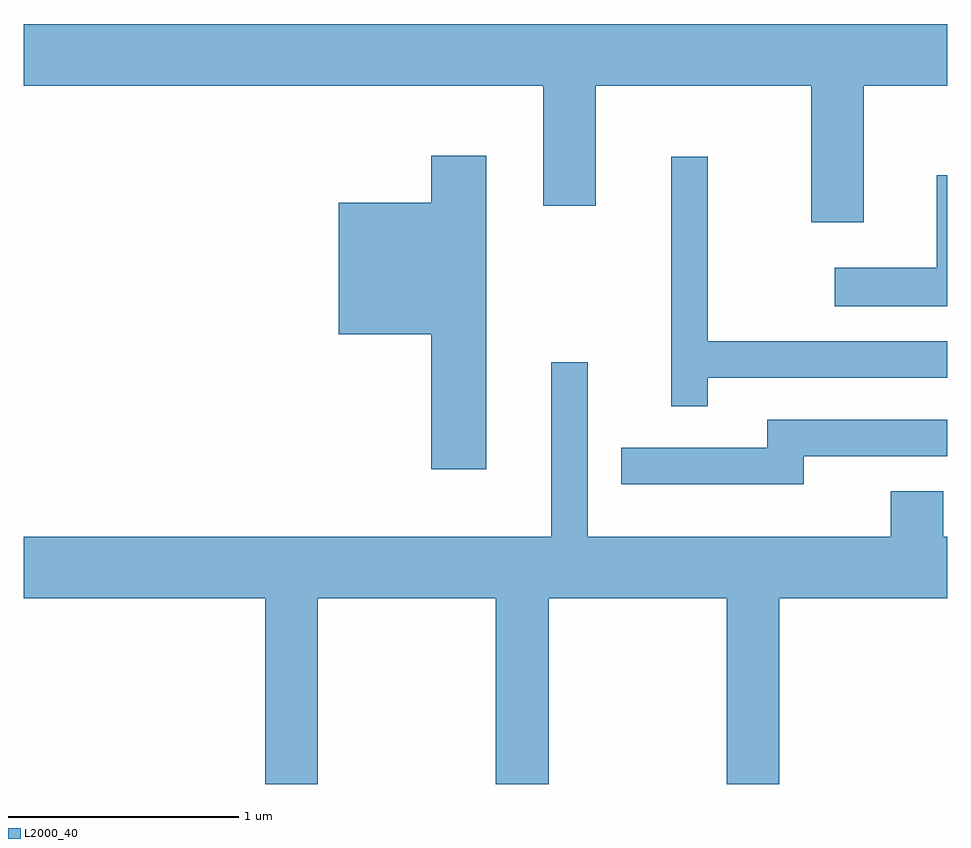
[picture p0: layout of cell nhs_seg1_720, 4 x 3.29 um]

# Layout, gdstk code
import gdstk
lib = gdstk.Library(unit=1e-6, precision=1e-09)
def P(c, l, *ps):  # polygons
    for p in ps: c.add(gdstk.Polygon(p, *l))
L2000_40 = (2000, 40)

nhs_seg1_720 = lib.new_cell('nhs_seg1_720')
P(nhs_seg1_720, L2000_40, [(211.249,850.736),(211.611,850.736),(211.611,851.004),(207.611,851.004),(207.611,850.736),(209.861,850.736),(209.861,850.216),(210.089,850.216),(210.089,850.736),(211.021,850.736),(211.021,850.146),(211.249,850.146)],
  [(209.614,850.434),(209.376,850.434),(209.376,850.229),(208.976,850.229),(208.976,849.661),(209.376,849.661),(209.376,849.076),(209.614,849.076)],
  [(210.574,849.471),(211.611,849.471),(211.611,849.629),(210.574,849.629),(210.574,850.428),(210.416,850.428),(210.416,849.348),(210.574,849.348)],
  [(211.611,850.349),(211.566,850.349),(211.566,849.949),(211.123,849.949),(211.123,849.781),(211.611,849.781)],
  [(208.884,848.516),(209.656,848.516),(209.656,847.712),(209.884,847.712),(209.884,848.516),(210.656,848.516),(210.656,847.712),(210.884,847.712),(210.884,848.516),(211.611,848.516),(211.611,848.784),(211.594,848.784),(211.594,848.979),(211.366,848.979),(211.366,848.784),(210.054,848.784),(210.054,849.538),(209.896,849.538),(209.896,848.784),(207.611,848.784),(207.611,848.516),(208.656,848.516),(208.656,847.712),(208.884,847.712)],
  [(210.989,849.131),(211.611,849.131),(211.611,849.289),(210.831,849.289),(210.831,849.169),(210.198,849.169),(210.198,849.011),(210.989,849.011)])

lib.write_gds('nhs_seg1_720.gds')
